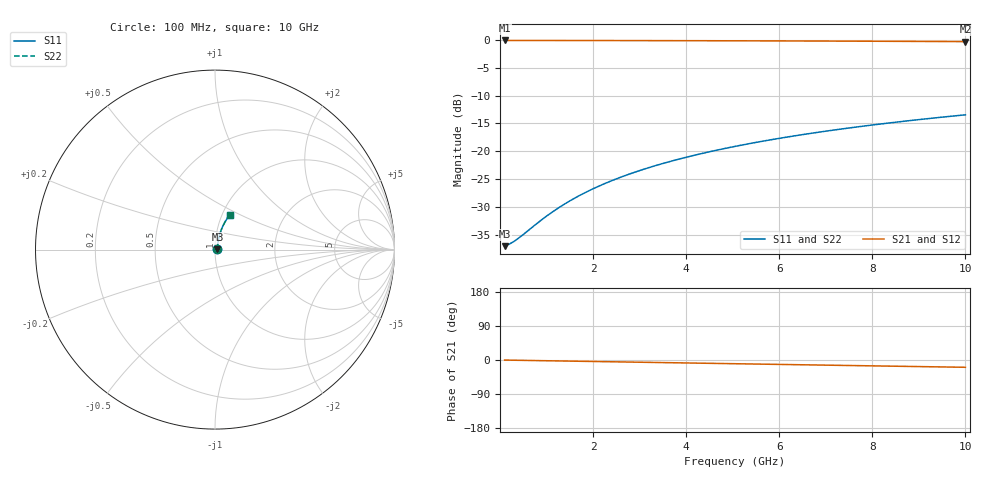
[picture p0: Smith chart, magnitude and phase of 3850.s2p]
# Hz S RI R 50.00
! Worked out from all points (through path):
!   100 points, 100 MHz to 10 GHz, reference 50 ohm
!   highest |S21| = -0.12 dB at 100 MHz (marker M1); lowest = -0.3 dB at 10 GHz (marker M2)
!   group delay of S21, straight-line fit = 5.35 ps
!   lowest |S11| = -37.0 dB at 100 MHz (marker M3), VSWR 1.03, Z = 51.4 + j0.22 ohm
!   |S11| at or under -10 dB: start of sweep to end of sweep
!   |S22| runs from -37.0 to -13.5 dB; largest |S21 - S12| = 0
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1e8  0.0139 0.00214  0.9861 -0.00336  0.9861 -0.00336  0.0139 0.00214
2e8  0.014 0.00428  0.986 -0.00672  0.986 -0.00672  0.014 0.00428
3e8  0.0141 0.00643  0.9859 -0.0101  0.9859 -0.0101  0.0141 0.00643
4e8  0.0142 0.00857  0.9857 -0.0134  0.9857 -0.0134  0.0142 0.00857
9e8  0.0149 0.0193  0.985 -0.0302  0.985 -0.0302  0.0149 0.0193
1.2e9  0.0154 0.0257  0.9844 -0.0402  0.9844 -0.0402  0.0154 0.0257
1.5e9  0.0161 0.032  0.9837 -0.0503  0.9837 -0.0503  0.0161 0.032
1.8e9  0.0169 0.0384  0.9829 -0.0603  0.9829 -0.0603  0.0169 0.0384
2.1e9  0.0178 0.0447  0.9819 -0.0703  0.9819 -0.0703  0.0178 0.0447
2.5e9  0.0192 0.0532  0.9803 -0.0836  0.9803 -0.0836  0.0192 0.0532
2.9e9  0.0208 0.0615  0.9785 -0.0968  0.9785 -0.0968  0.0208 0.0615
3.4e9  0.0231 0.0719  0.976 -0.1133  0.976 -0.1133  0.0231 0.0719
3.8e9  0.0252 0.0802  0.9736 -0.1264  0.9736 -0.1264  0.0252 0.0802
4.2e9  0.0276 0.0883  0.9711 -0.1395  0.9711 -0.1395  0.0276 0.0883
4.6e9  0.0301 0.0964  0.9683 -0.1524  0.9683 -0.1524  0.0301 0.0964
5.1e9  0.0336 0.1064  0.9644 -0.1685  0.9644 -0.1685  0.0336 0.1064
5.9e9  0.0398 0.1221  0.9575 -0.194  0.9575 -0.194  0.0398 0.1221
6.7e9  0.0469 0.1374  0.9497 -0.219  0.9497 -0.219  0.0469 0.1374
7.5e9  0.0547 0.1522  0.941 -0.2436  0.941 -0.2436  0.0547 0.1522
8.4e9  0.0644 0.1682  0.9302 -0.2707  0.9302 -0.2707  0.0644 0.1682
9.2e9  0.0737 0.1819  0.9198 -0.2942  0.9198 -0.2942  0.0737 0.1819
1e10  0.0837 0.195  0.9087 -0.3171  0.9087 -0.3171  0.0837 0.195
